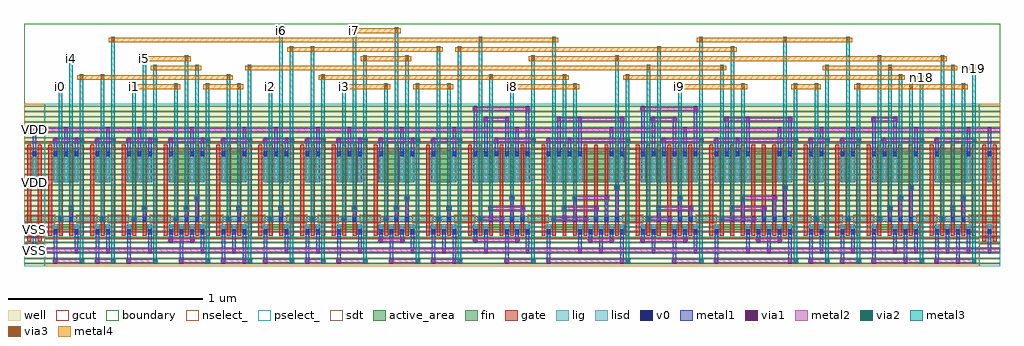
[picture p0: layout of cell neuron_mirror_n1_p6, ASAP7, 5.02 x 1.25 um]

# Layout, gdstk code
import gdstk
lib = gdstk.Library(unit=1e-6, precision=2.5e-10)
def R(c, l, rs):  # rectangles x0, y0, x1, y1
    for r in rs: c.add(gdstk.rectangle(r[:2], r[2:], *l))
def A(c, l, x, y, w, h, nx, ny, dx, dy):  # array of equal rectangles
    R(c, l, [(x+i*dx, y+j*dy, x+i*dx+w, y+j*dy+h) for i in range(nx) for j in range(ny)])
well = (1, 0)
fin = (2, 0)
gate = (7, 0)
gcut = (10, 0)
active_area = (11, 0)
nselect_ = (12, 0)
pselect_ = (13, 0)
lig = (16, 0)
lisd = (17, 0)
v0 = (18, 0)
metal1 = (19, 0)
metal2 = (20, 0)
via1 = (21, 0)
via2 = (25, 0)
metal3 = (30, 0)
via3 = (35, 0)
metal4 = (40, 0)
sdt = (88, 0)
boundary = (100, 0)

neuron_mirror_n1_p6 = lib.new_cell('neuron_mirror_n1_p6')
R(neuron_mirror_n1_p6, well, [(0,0.243,0.108,0.837), (0.108,0.243,0.324,0.837), (0.324,0.243,0.486,0.837), (0.486,0.243,0.702,0.837), (0.702,0.243,0.972,0.837), (0.972,0.243,1.188,0.837), (1.188,0.243,1.404,0.837), (1.404,0.243,1.566,0.837), (1.566,0.243,1.782,0.837), (1.782,0.243,2.052,0.837), (2.052,0.243,2.268,0.837), (2.268,0.243,2.646,0.837), (2.646,0.243,3.132,0.837), (3.132,0.243,3.51,0.837), (3.51,0.243,3.996,0.837), (3.996,0.243,4.158,0.837), (4.158,0.243,4.32,0.837), (4.32,0.243,4.644,0.837), (4.644,0.243,4.914,0.837), (4.914,0.243,5.022,0.837)])
A(neuron_mirror_n1_p6, fin, 0, 0.01, 0.108, 0.007, 1, 31, 0, 0.027)
A(neuron_mirror_n1_p6, fin, 0.108, 0.01, 0.216, 0.007, 1, 31, 0, 0.027)
A(neuron_mirror_n1_p6, fin, 0.324, 0.01, 0.162, 0.007, 1, 31, 0, 0.027)
A(neuron_mirror_n1_p6, fin, 0.486, 0.01, 0.216, 0.007, 1, 31, 0, 0.027)
A(neuron_mirror_n1_p6, fin, 0.702, 0.01, 0.27, 0.007, 1, 31, 0, 0.027)
A(neuron_mirror_n1_p6, fin, 0.972, 0.01, 0.216, 0.007, 1, 31, 0, 0.027)
A(neuron_mirror_n1_p6, fin, 1.188, 0.01, 0.216, 0.007, 1, 31, 0, 0.027)
A(neuron_mirror_n1_p6, fin, 1.404, 0.01, 0.162, 0.007, 1, 31, 0, 0.027)
A(neuron_mirror_n1_p6, fin, 1.566, 0.01, 0.216, 0.007, 1, 31, 0, 0.027)
A(neuron_mirror_n1_p6, fin, 1.782, 0.01, 0.27, 0.007, 1, 31, 0, 0.027)
A(neuron_mirror_n1_p6, fin, 2.052, 0.01, 0.216, 0.007, 1, 31, 0, 0.027)
A(neuron_mirror_n1_p6, fin, 2.268, 0.01, 0.378, 0.007, 1, 31, 0, 0.027)
A(neuron_mirror_n1_p6, fin, 2.646, 0.01, 0.486, 0.007, 1, 31, 0, 0.027)
A(neuron_mirror_n1_p6, fin, 3.132, 0.01, 0.378, 0.007, 1, 31, 0, 0.027)
A(neuron_mirror_n1_p6, fin, 3.51, 0.01, 0.486, 0.007, 1, 31, 0, 0.027)
A(neuron_mirror_n1_p6, fin, 3.996, 0.01, 0.162, 0.007, 1, 31, 0, 0.027)
A(neuron_mirror_n1_p6, fin, 4.158, 0.01, 0.162, 0.007, 1, 31, 0, 0.027)
A(neuron_mirror_n1_p6, fin, 4.32, 0.01, 0.324, 0.007, 1, 31, 0, 0.027)
A(neuron_mirror_n1_p6, fin, 4.644, 0.01, 0.27, 0.007, 1, 31, 0, 0.027)
A(neuron_mirror_n1_p6, fin, 4.914, 0.01, 0.108, 0.007, 1, 31, 0, 0.027)
A(neuron_mirror_n1_p6, gate, 0.125, 0.157, 0.02, 0.469, 89, 1, 0.054, 0)
R(neuron_mirror_n1_p6, gate, [(0.017,0.13,0.037,0.626), (0.071,0.13,0.091,0.626), (4.931,0.13,4.951,0.626), (4.985,0.13,5.005,0.626)])
R(neuron_mirror_n1_p6, gcut, [(0,0.113,0.108,0.157), (4.914,0.113,5.022,0.157), (0.108,0.14,0.324,0.184), (0.324,0.14,0.486,0.184), (0.486,0.14,0.702,0.184), (0.702,0.14,0.972,0.184), (0.972,0.14,1.188,0.184), (1.188,0.14,1.404,0.184), (1.404,0.14,1.566,0.184), (1.566,0.14,1.782,0.184), (1.782,0.14,2.052,0.184), (2.052,0.14,2.268,0.184), (2.268,0.14,2.646,0.184), (2.646,0.14,3.132,0.184), (3.132,0.14,3.51,0.184), (3.51,0.14,3.996,0.184), (3.996,0.14,4.158,0.184), (4.158,0.14,4.32,0.184), (4.32,0.14,4.644,0.184), (4.644,0.14,4.914,0.184), (0,0.221,0.108,0.265), (0.108,0.221,0.162,0.265), (0.27,0.221,0.324,0.265), (0.324,0.221,0.378,0.265), (0.432,0.221,0.486,0.265), (0.486,0.221,0.54,0.265), (0.648,0.221,0.702,0.265), (0.702,0.221,0.756,0.265), (0.918,0.221,0.972,0.265), (0.972,0.221,1.026,0.265), (1.134,0.221,1.188,0.265), (1.188,0.221,1.242,0.265), (1.35,0.221,1.404,0.265), (1.404,0.221,1.458,0.265), (1.512,0.221,1.566,0.265), (1.566,0.221,1.62,0.265), (1.728,0.221,1.782,0.265), (1.782,0.221,1.836,0.265), (1.998,0.221,2.052,0.265), (2.052,0.221,2.106,0.265), (2.214,0.221,2.268,0.265), (2.268,0.221,2.322,0.265), (2.592,0.221,2.646,0.265), (2.646,0.221,2.7,0.265), (3.078,0.221,3.132,0.265), (3.132,0.221,3.186,0.265), (3.456,0.221,3.51,0.265), (3.51,0.221,3.564,0.265), (3.942,0.221,3.996,0.265), (3.996,0.221,4.05,0.265), (4.104,0.221,4.158,0.265), (4.158,0.221,4.212,0.265), (4.266,0.221,4.32,0.265), (4.32,0.221,4.374,0.265), (4.59,0.221,4.644,0.265), (4.644,0.221,4.698,0.265), (4.86,0.221,4.914,0.265), (4.914,0.221,5.022,0.265), (0,0.599,0.108,0.643), (0.108,0.599,0.324,0.643), (0.324,0.599,0.486,0.643), (0.486,0.599,0.702,0.643), (0.702,0.599,0.972,0.643), (0.972,0.599,1.188,0.643), (1.188,0.599,1.404,0.643), (1.404,0.599,1.566,0.643), (1.566,0.599,1.782,0.643), (1.782,0.599,2.052,0.643), (2.052,0.599,2.268,0.643), (2.268,0.599,2.646,0.643), (2.646,0.599,3.132,0.643), (3.132,0.599,3.51,0.643), (3.51,0.599,3.996,0.643), (3.996,0.599,4.158,0.643), (4.158,0.599,4.32,0.643), (4.32,0.599,4.644,0.643), (4.644,0.599,4.914,0.643), (4.914,0.599,5.022,0.643)])
R(neuron_mirror_n1_p6, active_area, [(0.046,0.162,0.062,0.216), (4.96,0.162,4.976,0.216), (0.154,0.189,0.278,0.216), (0.37,0.189,0.44,0.216), (0.532,0.189,0.656,0.216), (0.748,0.189,0.926,0.216), (1.018,0.189,1.142,0.216), (1.234,0.189,1.358,0.216), (1.45,0.189,1.52,0.216), (1.612,0.189,1.736,0.216), (1.828,0.189,2.006,0.216), (2.098,0.189,2.222,0.216), (2.314,0.189,2.6,0.216), (2.692,0.189,3.086,0.216), (3.178,0.189,3.464,0.216), (3.556,0.189,3.95,0.216), (4.042,0.189,4.112,0.216), (4.204,0.189,4.274,0.216), (4.366,0.189,4.598,0.216), (4.69,0.189,4.868,0.216), (0.046,0.432,0.062,0.594), (0.154,0.432,0.278,0.594), (0.37,0.432,0.44,0.594), (0.532,0.432,0.656,0.594), (0.748,0.432,0.926,0.594), (1.018,0.432,1.142,0.594), (1.234,0.432,1.358,0.594), (1.45,0.432,1.52,0.594), (1.612,0.432,1.736,0.594), (1.828,0.432,2.006,0.594), (2.098,0.432,2.222,0.594), (2.314,0.432,2.6,0.594), (2.692,0.432,3.086,0.594), (3.178,0.432,3.464,0.594), (3.556,0.432,3.95,0.594), (4.042,0.432,4.112,0.594), (4.204,0.432,4.274,0.594), (4.366,0.432,4.598,0.594), (4.69,0.432,4.868,0.594), (4.96,0.432,4.976,0.594)])
R(neuron_mirror_n1_p6, nselect_, [(0.108,0,0.324,0.243), (0.324,0,0.486,0.243), (0.486,0,0.702,0.243), (0.702,0,0.972,0.243), (0.972,0,1.188,0.243), (1.188,0,1.404,0.243), (1.404,0,1.566,0.243), (1.566,0,1.782,0.243), (1.782,0,2.052,0.243), (2.052,0,2.268,0.243), (2.268,0,2.646,0.243), (2.646,0,3.132,0.243), (3.132,0,3.51,0.243), (3.51,0,3.996,0.243), (3.996,0,4.158,0.243), (4.158,0,4.32,0.243), (4.32,0,4.644,0.243), (4.644,0,4.914,0.243), (0,0.243,0.108,0.837), (4.914,0.243,5.022,0.837)])
R(neuron_mirror_n1_p6, pselect_, [(0,0,0.108,0.243), (4.914,0,5.022,0.243), (0.108,0.243,0.324,0.837), (0.324,0.243,0.486,0.837), (0.486,0.243,0.702,0.837), (0.702,0.243,0.972,0.837), (0.972,0.243,1.188,0.837), (1.188,0.243,1.404,0.837), (1.404,0.243,1.566,0.837), (1.566,0.243,1.782,0.837), (1.782,0.243,2.052,0.837), (2.052,0.243,2.268,0.837), (2.268,0.243,2.646,0.837), (2.646,0.243,3.132,0.837), (3.132,0.243,3.51,0.837), (3.51,0.243,3.996,0.837), (3.996,0.243,4.158,0.837), (4.158,0.243,4.32,0.837), (4.32,0.243,4.644,0.837), (4.644,0.243,4.914,0.837)])
A(neuron_mirror_n1_p6, lig, 0.232, 0.232, 0.022, 0.022, 3, 1, 0.162, 0)
A(neuron_mirror_n1_p6, lig, 0.772, 0.232, 0.022, 0.022, 3, 1, 0.054, 0)
A(neuron_mirror_n1_p6, lig, 1.312, 0.232, 0.022, 0.022, 3, 1, 0.162, 0)
A(neuron_mirror_n1_p6, lig, 1.852, 0.232, 0.022, 0.022, 3, 1, 0.054, 0)
A(neuron_mirror_n1_p6, lig, 2.338, 0.232, 0.022, 0.022, 5, 1, 0.054, 0)
A(neuron_mirror_n1_p6, lig, 2.716, 0.232, 0.022, 0.022, 7, 1, 0.054, 0)
A(neuron_mirror_n1_p6, lig, 3.202, 0.232, 0.022, 0.022, 5, 1, 0.054, 0)
A(neuron_mirror_n1_p6, lig, 3.58, 0.232, 0.022, 0.022, 7, 1, 0.054, 0)
A(neuron_mirror_n1_p6, lig, 4.066, 0.232, 0.022, 0.022, 3, 1, 0.162, 0)
A(neuron_mirror_n1_p6, lig, 4.444, 0.232, 0.022, 0.022, 3, 1, 0.054, 0)
A(neuron_mirror_n1_p6, lig, 4.714, 0.232, 0.022, 0.022, 3, 1, 0.054, 0)
R(neuron_mirror_n1_p6, lig, [(0.178,0.232,0.2,0.254), (0.61,0.232,0.632,0.254), (1.042,0.232,1.064,0.254), (1.096,0.232,1.118,0.254), (1.258,0.232,1.28,0.254), (1.69,0.232,1.712,0.254), (2.122,0.232,2.144,0.254), (2.176,0.232,2.198,0.254)])
A(neuron_mirror_n1_p6, lisd, 0.042, 0.162, 0.024, 0.054, 4, 1, 0.108, 0)
A(neuron_mirror_n1_p6, lisd, 0.42, 0.162, 0.024, 0.054, 4, 1, 0.108, 0)
A(neuron_mirror_n1_p6, lisd, 0.798, 0.162, 0.024, 0.054, 3, 1, 0.054, 0)
A(neuron_mirror_n1_p6, lisd, 1.014, 0.162, 0.024, 0.054, 3, 1, 0.054, 0)
A(neuron_mirror_n1_p6, lisd, 1.23, 0.162, 0.024, 0.054, 3, 1, 0.108, 0)
A(neuron_mirror_n1_p6, lisd, 1.5, 0.162, 0.024, 0.054, 4, 1, 0.108, 0)
A(neuron_mirror_n1_p6, lisd, 1.878, 0.162, 0.024, 0.054, 3, 1, 0.054, 0)
A(neuron_mirror_n1_p6, lisd, 2.094, 0.162, 0.024, 0.054, 3, 1, 0.054, 0)
A(neuron_mirror_n1_p6, lisd, 2.472, 0.162, 0.024, 0.054, 3, 1, 0.054, 0)
A(neuron_mirror_n1_p6, lisd, 2.85, 0.162, 0.024, 0.054, 5, 1, 0.054, 0)
A(neuron_mirror_n1_p6, lisd, 3.336, 0.162, 0.024, 0.054, 3, 1, 0.054, 0)
A(neuron_mirror_n1_p6, lisd, 3.714, 0.162, 0.024, 0.054, 5, 1, 0.054, 0)
A(neuron_mirror_n1_p6, lisd, 4.254, 0.162, 0.024, 0.054, 3, 1, 0.108, 0)
A(neuron_mirror_n1_p6, lisd, 4.686, 0.162, 0.024, 0.054, 4, 1, 0.054, 0)
A(neuron_mirror_n1_p6, lisd, 0.15, 0.432, 0.024, 0.162, 3, 1, 0.054, 0)
A(neuron_mirror_n1_p6, lisd, 0.528, 0.432, 0.024, 0.162, 3, 1, 0.054, 0)
A(neuron_mirror_n1_p6, lisd, 0.906, 0.432, 0.024, 0.162, 4, 1, 0.108, 0)
A(neuron_mirror_n1_p6, lisd, 1.608, 0.432, 0.024, 0.162, 3, 1, 0.054, 0)
A(neuron_mirror_n1_p6, lisd, 1.986, 0.432, 0.024, 0.162, 4, 1, 0.108, 0)
A(neuron_mirror_n1_p6, lisd, 2.364, 0.432, 0.024, 0.162, 5, 1, 0.054, 0)
A(neuron_mirror_n1_p6, lisd, 2.688, 0.432, 0.024, 0.162, 4, 1, 0.054, 0)
A(neuron_mirror_n1_p6, lisd, 3.174, 0.432, 0.024, 0.162, 6, 1, 0.054, 0)
A(neuron_mirror_n1_p6, lisd, 3.552, 0.432, 0.024, 0.162, 4, 1, 0.054, 0)
A(neuron_mirror_n1_p6, lisd, 4.362, 0.432, 0.024, 0.162, 3, 1, 0.054, 0)
R(neuron_mirror_n1_p6, lisd, [(2.31,0.162,2.334,0.216), (2.364,0.162,2.388,0.216), (2.688,0.162,2.712,0.216), (3.174,0.162,3.198,0.216), (3.228,0.162,3.252,0.216), (3.552,0.162,3.576,0.216), (4.038,0.162,4.062,0.216), (4.092,0.162,4.116,0.216), (4.2,0.162,4.224,0.216), (4.524,0.162,4.548,0.216), (4.578,0.162,4.602,0.216), (4.956,0.162,4.98,0.216), (0.042,0.432,0.066,0.594), (0.366,0.432,0.39,0.594), (0.42,0.432,0.444,0.594), (0.744,0.432,0.768,0.594), (0.852,0.432,0.876,0.594), (1.284,0.432,1.308,0.594), (1.338,0.432,1.362,0.594), (1.446,0.432,1.47,0.594), (1.5,0.432,1.524,0.594), (1.824,0.432,1.848,0.594), (1.932,0.432,1.956,0.594), (3.012,0.432,3.036,0.594), (3.066,0.432,3.09,0.594), (3.876,0.432,3.9,0.594), (3.93,0.432,3.954,0.594), (4.038,0.432,4.062,0.594), (4.092,0.432,4.116,0.594), (4.2,0.432,4.224,0.594), (4.254,0.432,4.278,0.594), (4.578,0.432,4.602,0.594), (4.686,0.432,4.71,0.594), (4.848,0.432,4.872,0.594), (4.956,0.432,4.98,0.594)])
A(neuron_mirror_n1_p6, v0, 0.045, 0.1665, 0.018, 0.018, 4, 1, 0.108, 0)
A(neuron_mirror_n1_p6, v0, 0.423, 0.1665, 0.018, 0.018, 4, 1, 0.108, 0)
A(neuron_mirror_n1_p6, v0, 0.801, 0.1665, 0.018, 0.018, 3, 1, 0.054, 0)
A(neuron_mirror_n1_p6, v0, 1.017, 0.1665, 0.018, 0.018, 3, 1, 0.054, 0)
A(neuron_mirror_n1_p6, v0, 1.233, 0.1665, 0.018, 0.018, 3, 1, 0.108, 0)
A(neuron_mirror_n1_p6, v0, 1.503, 0.1665, 0.018, 0.018, 4, 1, 0.108, 0)
A(neuron_mirror_n1_p6, v0, 1.881, 0.1665, 0.018, 0.018, 3, 1, 0.054, 0)
A(neuron_mirror_n1_p6, v0, 2.097, 0.1665, 0.018, 0.018, 3, 1, 0.054, 0)
A(neuron_mirror_n1_p6, v0, 2.475, 0.1665, 0.018, 0.018, 3, 1, 0.054, 0)
A(neuron_mirror_n1_p6, v0, 2.853, 0.1665, 0.018, 0.018, 5, 1, 0.054, 0)
A(neuron_mirror_n1_p6, v0, 3.339, 0.1665, 0.018, 0.018, 3, 1, 0.054, 0)
A(neuron_mirror_n1_p6, v0, 3.717, 0.1665, 0.018, 0.018, 5, 1, 0.054, 0)
A(neuron_mirror_n1_p6, v0, 4.257, 0.1665, 0.018, 0.018, 3, 1, 0.108, 0)
A(neuron_mirror_n1_p6, v0, 4.689, 0.1665, 0.018, 0.018, 4, 1, 0.054, 0)
A(neuron_mirror_n1_p6, v0, 0.234, 0.234, 0.018, 0.018, 3, 1, 0.162, 0)
A(neuron_mirror_n1_p6, v0, 0.774, 0.234, 0.018, 0.018, 3, 1, 0.054, 0)
A(neuron_mirror_n1_p6, v0, 1.314, 0.234, 0.018, 0.018, 3, 1, 0.162, 0)
A(neuron_mirror_n1_p6, v0, 1.854, 0.234, 0.018, 0.018, 3, 1, 0.054, 0)
A(neuron_mirror_n1_p6, v0, 2.34, 0.234, 0.018, 0.018, 5, 1, 0.054, 0)
A(neuron_mirror_n1_p6, v0, 2.718, 0.234, 0.018, 0.018, 7, 1, 0.054, 0)
A(neuron_mirror_n1_p6, v0, 3.204, 0.234, 0.018, 0.018, 5, 1, 0.054, 0)
A(neuron_mirror_n1_p6, v0, 3.582, 0.234, 0.018, 0.018, 7, 1, 0.054, 0)
A(neuron_mirror_n1_p6, v0, 4.068, 0.234, 0.018, 0.018, 3, 1, 0.162, 0)
A(neuron_mirror_n1_p6, v0, 4.446, 0.234, 0.018, 0.018, 3, 1, 0.054, 0)
A(neuron_mirror_n1_p6, v0, 4.716, 0.234, 0.018, 0.018, 3, 1, 0.054, 0)
A(neuron_mirror_n1_p6, v0, 0.153, 0.5715, 0.018, 0.018, 3, 1, 0.054, 0)
A(neuron_mirror_n1_p6, v0, 0.531, 0.5715, 0.018, 0.018, 3, 1, 0.054, 0)
A(neuron_mirror_n1_p6, v0, 0.909, 0.5715, 0.018, 0.018, 4, 1, 0.108, 0)
A(neuron_mirror_n1_p6, v0, 1.611, 0.5715, 0.018, 0.018, 3, 1, 0.054, 0)
A(neuron_mirror_n1_p6, v0, 1.989, 0.5715, 0.018, 0.018, 4, 1, 0.108, 0)
A(neuron_mirror_n1_p6, v0, 2.367, 0.5715, 0.018, 0.018, 5, 1, 0.054, 0)
A(neuron_mirror_n1_p6, v0, 2.691, 0.5715, 0.018, 0.018, 4, 1, 0.054, 0)
A(neuron_mirror_n1_p6, v0, 3.177, 0.5715, 0.018, 0.018, 6, 1, 0.054, 0)
A(neuron_mirror_n1_p6, v0, 3.555, 0.5715, 0.018, 0.018, 4, 1, 0.054, 0)
A(neuron_mirror_n1_p6, v0, 4.365, 0.5715, 0.018, 0.018, 3, 1, 0.054, 0)
R(neuron_mirror_n1_p6, v0, [(2.313,0.1665,2.331,0.1845), (2.367,0.1665,2.385,0.1845), (2.691,0.1665,2.709,0.1845), (3.177,0.1665,3.195,0.1845), (3.231,0.1665,3.249,0.1845), (3.555,0.1665,3.573,0.1845), (4.041,0.1665,4.059,0.1845), (4.095,0.1665,4.113,0.1845), (4.203,0.1665,4.221,0.1845), (4.527,0.1665,4.545,0.1845), (4.581,0.1665,4.599,0.1845), (4.959,0.1665,4.977,0.1845), (0.18,0.234,0.198,0.252), (0.612,0.234,0.63,0.252), (1.044,0.234,1.062,0.252), (1.098,0.234,1.116,0.252), (1.26,0.234,1.278,0.252), (1.692,0.234,1.71,0.252), (2.124,0.234,2.142,0.252), (2.178,0.234,2.196,0.252), (0.045,0.5715,0.063,0.5895), (0.369,0.5715,0.387,0.5895), (0.423,0.5715,0.441,0.5895), (0.747,0.5715,0.765,0.5895), (0.855,0.5715,0.873,0.5895), (1.287,0.5715,1.305,0.5895), (1.341,0.5715,1.359,0.5895), (1.449,0.5715,1.467,0.5895), (1.503,0.5715,1.521,0.5895), (1.827,0.5715,1.845,0.5895), (1.935,0.5715,1.953,0.5895), (3.015,0.5715,3.033,0.5895), (3.069,0.5715,3.087,0.5895), (3.879,0.5715,3.897,0.5895), (3.933,0.5715,3.951,0.5895), (4.041,0.5715,4.059,0.5895), (4.095,0.5715,4.113,0.5895), (4.203,0.5715,4.221,0.5895), (4.257,0.5715,4.275,0.5895), (4.581,0.5715,4.599,0.5895), (4.689,0.5715,4.707,0.5895), (4.851,0.5715,4.869,0.5895), (4.959,0.5715,4.977,0.5895)])
A(neuron_mirror_n1_p6, metal1, 1.017, 0.013, 0.018, 0.1765, 3, 1, 0.108, 0)
A(neuron_mirror_n1_p6, metal1, 4.041, 0.013, 0.018, 0.1765, 5, 1, 0.162, 0)
A(neuron_mirror_n1_p6, metal1, 2.151, 0.067, 0.018, 0.1225, 3, 1, 0.216, 0)
A(neuron_mirror_n1_p6, metal1, 4.743, 0.067, 0.018, 0.1225, 3, 1, 0.108, 0)
A(neuron_mirror_n1_p6, metal1, 1.044, 0.229, 0.018, 0.028, 3, 1, 0.216, 0)
A(neuron_mirror_n1_p6, metal1, 4.068, 0.229, 0.018, 0.028, 3, 1, 0.162, 0)
A(neuron_mirror_n1_p6, metal1, 0.153, 0.5665, 0.018, 0.0955, 3, 1, 0.108, 0)
A(neuron_mirror_n1_p6, metal1, 0.531, 0.5665, 0.018, 0.0955, 3, 1, 0.108, 0)
A(neuron_mirror_n1_p6, metal1, 0.585, 0.5665, 0.018, 0.1495, 3, 1, 0.27, 0)
A(neuron_mirror_n1_p6, metal1, 1.233, 0.5665, 0.018, 0.0955, 3, 1, 0.108, 0)
A(neuron_mirror_n1_p6, metal1, 1.611, 0.5665, 0.018, 0.0955, 3, 1, 0.108, 0)
A(neuron_mirror_n1_p6, metal1, 1.665, 0.5665, 0.018, 0.1495, 3, 1, 0.27, 0)
R(neuron_mirror_n1_p6, metal1, [(0.153,0.013,0.171,0.1895), (0.369,0.013,0.387,0.1895), (0.531,0.013,0.549,0.1895), (0.801,0.013,0.819,0.1895), (1.449,0.013,1.467,0.1895), (1.611,0.013,1.629,0.1895), (1.881,0.013,1.899,0.1895), (2.097,0.013,2.115,0.1895), (2.205,0.013,2.223,0.1895), (2.475,0.013,2.493,0.1895), (2.691,0.013,2.709,0.1895), (3.069,0.013,3.087,0.1895), (3.339,0.013,3.357,0.1895), (3.555,0.013,3.573,0.1895), (3.933,0.013,3.951,0.1895), (4.797,0.013,4.815,0.1895), (0.045,0.067,0.063,0.1895), (0.261,0.067,0.279,0.1895), (0.423,0.067,0.441,0.1895), (0.639,0.067,0.657,0.1895), (0.909,0.067,0.927,0.1895), (1.071,0.067,1.089,0.1895), (1.341,0.067,1.359,0.1895), (1.503,0.067,1.521,0.1895), (1.719,0.067,1.737,0.1895), (1.989,0.067,2.007,0.1895), (2.853,0.067,2.871,0.1895), (2.961,0.067,2.979,0.1895), (3.231,0.067,3.249,0.1895), (3.447,0.067,3.465,0.1895), (3.717,0.067,3.735,0.1895), (3.825,0.067,3.843,0.1895), (4.095,0.067,4.113,0.1895), (4.257,0.067,4.275,0.1895), (4.473,0.067,4.491,0.1895), (4.581,0.067,4.599,0.1895), (0.747,0.121,0.765,0.1895), (0.855,0.121,0.873,0.1895), (1.827,0.121,1.845,0.1895), (1.935,0.121,1.953,0.1895), (2.313,0.121,2.331,0.1895), (2.529,0.121,2.547,0.1895), (2.907,0.121,2.925,0.1895), (3.015,0.121,3.033,0.1895), (3.177,0.121,3.195,0.1895), (3.393,0.121,3.411,0.1895), (3.771,0.121,3.789,0.1895), (3.879,0.121,3.897,0.1895), (0.18,0.229,0.198,0.257), (0.234,0.229,0.252,0.311), (0.396,0.229,0.414,0.257), (0.558,0.229,0.576,0.257), (0.612,0.229,0.63,0.311), (0.774,0.229,0.792,0.257), (0.828,0.229,0.846,0.311), (0.882,0.229,0.9,0.365), (1.098,0.229,1.116,0.311), (1.314,0.229,1.332,0.311), (1.638,0.229,1.656,0.257), (1.692,0.229,1.71,0.311), (1.854,0.229,1.872,0.257), (1.908,0.229,1.926,0.311), (1.962,0.229,1.98,0.365), (2.124,0.229,2.142,0.257), (2.178,0.229,2.196,0.311), (2.34,0.229,2.358,0.257), (2.394,0.229,2.412,0.311), (2.448,0.229,2.466,0.257), (2.502,0.229,2.52,0.365), (2.556,0.229,2.574,0.311), (2.718,0.229,2.736,0.257), (2.772,0.229,2.79,0.311), (2.826,0.229,2.844,0.365), (2.88,0.229,2.898,0.257), (2.934,0.229,2.952,0.311), (2.988,0.229,3.006,0.365), (3.042,0.229,3.06,0.419), (3.204,0.229,3.222,0.257), (3.258,0.229,3.276,0.311), (3.312,0.229,3.33,0.257), (3.366,0.229,3.384,0.365), (3.42,0.229,3.438,0.311), (3.582,0.229,3.6,0.257), (3.636,0.229,3.654,0.311), (3.69,0.229,3.708,0.365), (3.744,0.229,3.762,0.257), (3.798,0.229,3.816,0.311), (3.852,0.229,3.87,0.365), (3.906,0.229,3.924,0.419), (4.446,0.229,4.464,0.311), (4.5,0.229,4.518,0.365), (4.554,0.229,4.572,0.419), (4.716,0.229,4.734,0.257), (4.77,0.229,4.788,0.311), (4.824,0.229,4.842,0.365), (0.045,0.5665,0.063,0.716), (0.207,0.5665,0.225,0.716), (0.423,0.5665,0.441,0.716), (0.909,0.5665,0.927,0.662), (1.017,0.5665,1.035,0.662), (1.287,0.5665,1.305,0.716), (1.503,0.5665,1.521,0.716), (1.989,0.5665,2.007,0.662), (2.097,0.5665,2.115,0.662), (2.313,0.5665,2.331,0.824), (2.367,0.5665,2.385,0.77), (2.421,0.5665,2.439,0.662), (2.475,0.5665,2.493,0.77), (2.529,0.5665,2.547,0.716), (2.583,0.5665,2.601,0.824), (2.691,0.5665,2.709,0.662), (2.745,0.5665,2.763,0.77), (2.799,0.5665,2.817,0.662), (2.853,0.5665,2.871,0.77), (3.015,0.5665,3.033,0.716), (3.069,0.5665,3.087,0.77), (3.177,0.5665,3.195,0.824), (3.231,0.5665,3.249,0.77), (3.285,0.5665,3.303,0.662), (3.339,0.5665,3.357,0.77), (3.393,0.5665,3.411,0.716), (3.447,0.5665,3.465,0.824), (3.555,0.5665,3.573,0.662), (3.609,0.5665,3.627,0.77), (3.663,0.5665,3.681,0.662), (3.717,0.5665,3.735,0.77), (3.879,0.5665,3.897,0.716), (3.933,0.5665,3.951,0.77), (4.041,0.5665,4.059,0.662), (4.095,0.5665,4.113,0.716), (4.203,0.5665,4.221,0.662), (4.257,0.5665,4.275,0.716), (4.365,0.5665,4.383,0.77), (4.419,0.5665,4.437,0.662), (4.473,0.5665,4.491,0.77), (4.581,0.5665,4.599,0.716), (4.689,0.5665,4.707,0.662), (4.851,0.5665,4.869,0.716), (4.959,0.5665,4.977,0.716)])
A(neuron_mirror_n1_p6, metal2, 0.796, 0.018, 0.163, 0.018, 3, 1, 0.216, 0)
A(neuron_mirror_n1_p6, metal2, 0.742, 0.126, 0.136, 0.018, 3, 1, 1.08, 0)
A(neuron_mirror_n1_p6, metal2, 1.039, 0.234, 0.028, 0.018, 3, 1, 0.216, 0)
A(neuron_mirror_n1_p6, metal2, 4.063, 0.234, 0.028, 0.018, 3, 1, 0.162, 0)
A(neuron_mirror_n1_p6, metal2, 0.58, 0.693, 0.028, 0.018, 3, 1, 0.27, 0)
A(neuron_mirror_n1_p6, metal2, 1.66, 0.693, 0.028, 0.018, 3, 1, 0.27, 0)
R(neuron_mirror_n1_p6, metal2, [(0.148,0.018,0.311,0.036), (0.364,0.018,0.473,0.036), (0.526,0.018,0.689,0.036), (1.444,0.018,1.553,0.036), (1.606,0.018,1.769,0.036), (1.876,0.018,2.039,0.036), (2.092,0.018,2.255,0.036), (2.47,0.018,2.633,0.036), (2.686,0.018,3.119,0.036), (3.334,0.018,3.497,0.036), (3.55,0.018,3.983,0.036), (4.036,0.018,4.145,0.036), (4.198,0.018,4.307,0.036), (4.36,0.018,4.631,0.036), (4.684,0.018,4.901,0.036), (0,0.072,5.022,0.09), (0.04,0.072,0.068,0.09), (0.256,0.072,0.284,0.09), (0.418,0.072,0.446,0.09), (0.634,0.072,0.662,0.09), (0.904,0.072,0.932,0.09), (1.066,0.072,1.094,0.09), (1.336,0.072,1.364,0.09), (1.498,0.072,1.526,0.09), (1.714,0.072,1.742,0.09), (1.984,0.072,2.012,0.09), (2.146,0.072,2.174,0.09), (2.362,0.072,2.606,0.09), (2.848,0.072,2.984,0.09), (3.226,0.072,3.47,0.09), (3.712,0.072,3.848,0.09), (4.09,0.072,4.118,0.09), (4.252,0.072,4.28,0.09), (4.468,0.072,4.604,0.09), (4.738,0.072,4.874,0.09), (4.954,0.072,4.982,0.09), (2.308,0.126,2.552,0.144), (3.172,0.126,3.416,0.144), (3.766,0.126,3.902,0.144), (0.175,0.234,0.203,0.252), (0.391,0.234,0.419,0.252), (0.553,0.234,0.581,0.252), (0.769,0.234,0.797,0.252), (1.633,0.234,1.661,0.252), (1.849,0.234,1.877,0.252), (2.119,0.234,2.147,0.252), (2.335,0.234,2.471,0.252), (2.713,0.234,2.903,0.252), (3.199,0.234,3.335,0.252), (3.577,0.234,3.767,0.252), (4.711,0.234,4.739,0.252), (0.229,0.288,0.257,0.306), (0.607,0.288,0.635,0.306), (0.823,0.288,0.851,0.306), (1.093,0.288,1.121,0.306), (1.309,0.288,1.337,0.306), (1.687,0.288,1.715,0.306), (1.903,0.288,1.931,0.306), (2.173,0.288,2.201,0.306), (2.389,0.288,2.579,0.306), (2.767,0.288,2.957,0.306), (3.253,0.288,3.443,0.306), (3.631,0.288,3.821,0.306), (4.441,0.288,4.469,0.306), (4.765,0.288,4.793,0.306), (0.877,0.342,0.905,0.36), (1.957,0.342,1.985,0.36), (2.497,0.342,2.525,0.36), (2.821,0.342,3.011,0.36), (3.361,0.342,3.389,0.36), (3.685,0.342,3.875,0.36), (4.495,0.342,4.523,0.36), (4.819,0.342,4.847,0.36), (3.037,0.396,3.065,0.414), (3.901,0.396,3.929,0.414), (4.549,0.396,4.577,0.414), (0.148,0.639,0.311,0.657), (0.364,0.639,0.473,0.657), (0.526,0.639,0.689,0.657), (0.742,0.639,0.959,0.657), (1.012,0.639,1.175,0.657), (1.228,0.639,1.391,0.657), (1.444,0.639,1.553,0.657), (1.606,0.639,1.769,0.657), (1.822,0.639,2.039,0.657), (2.092,0.639,2.255,0.657), (2.416,0.639,2.633,0.657), (2.686,0.639,3.119,0.657), (3.28,0.639,3.497,0.657), (3.55,0.639,3.983,0.657), (4.036,0.639,4.145,0.657), (4.198,0.639,4.307,0.657), (4.414,0.639,4.631,0.657), (4.684,0.639,4.901,0.657), (0,0.693,5.022,0.711), (0.04,0.693,0.068,0.711), (0.202,0.693,0.23,0.711), (0.418,0.693,0.446,0.711), (1.282,0.693,1.31,0.711), (1.498,0.693,1.526,0.711), (2.524,0.693,2.552,0.711), (3.01,0.693,3.038,0.711), (3.388,0.693,3.416,0.711), (3.874,0.693,3.902,0.711), (4.09,0.693,4.118,0.711), (4.252,0.693,4.28,0.711), (4.576,0.693,4.604,0.711), (4.846,0.693,4.874,0.711), (4.954,0.693,4.982,0.711), (2.362,0.747,2.498,0.765), (2.74,0.747,3.092,0.765), (3.226,0.747,3.362,0.765), (3.604,0.747,3.956,0.765), (4.36,0.747,4.496,0.765), (2.308,0.801,2.606,0.819), (3.172,0.801,3.47,0.819)])
A(neuron_mirror_n1_p6, via1, 1.017, 0.018, 0.018, 0.018, 3, 1, 0.108, 0)
A(neuron_mirror_n1_p6, via1, 4.041, 0.018, 0.018, 0.018, 5, 1, 0.162, 0)
A(neuron_mirror_n1_p6, via1, 2.151, 0.072, 0.018, 0.018, 3, 1, 0.216, 0)
A(neuron_mirror_n1_p6, via1, 4.743, 0.072, 0.018, 0.018, 3, 1, 0.108, 0)
A(neuron_mirror_n1_p6, via1, 1.044, 0.234, 0.018, 0.018, 3, 1, 0.216, 0)
A(neuron_mirror_n1_p6, via1, 4.068, 0.234, 0.018, 0.018, 3, 1, 0.162, 0)
A(neuron_mirror_n1_p6, via1, 0.153, 0.639, 0.018, 0.018, 3, 1, 0.108, 0)
A(neuron_mirror_n1_p6, via1, 0.531, 0.639, 0.018, 0.018, 3, 1, 0.108, 0)
A(neuron_mirror_n1_p6, via1, 1.233, 0.639, 0.018, 0.018, 3, 1, 0.108, 0)
A(neuron_mirror_n1_p6, via1, 1.611, 0.639, 0.018, 0.018, 3, 1, 0.108, 0)
A(neuron_mirror_n1_p6, via1, 0.585, 0.693, 0.018, 0.018, 3, 1, 0.27, 0)
A(neuron_mirror_n1_p6, via1, 1.665, 0.693, 0.018, 0.018, 3, 1, 0.27, 0)
R(neuron_mirror_n1_p6, via1, [(0.153,0.018,0.171,0.036), (0.369,0.018,0.387,0.036), (0.531,0.018,0.549,0.036), (0.801,0.018,0.819,0.036), (1.449,0.018,1.467,0.036), (1.611,0.018,1.629,0.036), (1.881,0.018,1.899,0.036), (2.097,0.018,2.115,0.036), (2.205,0.018,2.223,0.036), (2.475,0.018,2.493,0.036), (2.691,0.018,2.709,0.036), (3.069,0.018,3.087,0.036), (3.339,0.018,3.357,0.036), (3.555,0.018,3.573,0.036), (3.933,0.018,3.951,0.036), (4.797,0.018,4.815,0.036), (0.045,0.072,0.063,0.09), (0.261,0.072,0.279,0.09), (0.423,0.072,0.441,0.09), (0.639,0.072,0.657,0.09), (0.909,0.072,0.927,0.09), (1.071,0.072,1.089,0.09), (1.341,0.072,1.359,0.09), (1.503,0.072,1.521,0.09), (1.719,0.072,1.737,0.09), (1.989,0.072,2.007,0.09), (2.853,0.072,2.871,0.09), (2.961,0.072,2.979,0.09), (3.231,0.072,3.249,0.09), (3.447,0.072,3.465,0.09), (3.717,0.072,3.735,0.09), (3.825,0.072,3.843,0.09), (4.095,0.072,4.113,0.09), (4.257,0.072,4.275,0.09), (4.473,0.072,4.491,0.09), (4.581,0.072,4.599,0.09), (0.747,0.126,0.765,0.144), (0.855,0.126,0.873,0.144), (1.827,0.126,1.845,0.144), (1.935,0.126,1.953,0.144), (2.313,0.126,2.331,0.144), (2.529,0.126,2.547,0.144), (2.907,0.126,2.925,0.144), (3.015,0.126,3.033,0.144), (3.177,0.126,3.195,0.144), (3.393,0.126,3.411,0.144), (3.771,0.126,3.789,0.144), (3.879,0.126,3.897,0.144), (0.18,0.234,0.198,0.252), (0.396,0.234,0.414,0.252), (0.558,0.234,0.576,0.252), (0.774,0.234,0.792,0.252), (1.638,0.234,1.656,0.252), (1.854,0.234,1.872,0.252), (2.124,0.234,2.142,0.252), (2.34,0.234,2.358,0.252), (2.448,0.234,2.466,0.252), (2.718,0.234,2.736,0.252), (2.88,0.234,2.898,0.252), (3.204,0.234,3.222,0.252), (3.312,0.234,3.33,0.252), (3.582,0.234,3.6,0.252), (3.744,0.234,3.762,0.252), (4.716,0.234,4.734,0.252), (0.234,0.288,0.252,0.306), (0.612,0.288,0.63,0.306), (0.828,0.288,0.846,0.306), (1.098,0.288,1.116,0.306), (1.314,0.288,1.332,0.306), (1.692,0.288,1.71,0.306), (1.908,0.288,1.926,0.306), (2.178,0.288,2.196,0.306), (2.394,0.288,2.412,0.306), (2.556,0.288,2.574,0.306), (2.772,0.288,2.79,0.306), (2.934,0.288,2.952,0.306), (3.258,0.288,3.276,0.306), (3.42,0.288,3.438,0.306), (3.636,0.288,3.654,0.306), (3.798,0.288,3.816,0.306), (4.446,0.288,4.464,0.306), (4.77,0.288,4.788,0.306), (0.882,0.342,0.9,0.36), (1.962,0.342,1.98,0.36), (2.502,0.342,2.52,0.36), (2.826,0.342,2.844,0.36), (2.988,0.342,3.006,0.36), (3.366,0.342,3.384,0.36), (3.69,0.342,3.708,0.36), (3.852,0.342,3.87,0.36), (4.5,0.342,4.518,0.36), (4.824,0.342,4.842,0.36), (3.042,0.396,3.06,0.414), (3.906,0.396,3.924,0.414), (4.554,0.396,4.572,0.414), (0.909,0.639,0.927,0.657), (1.017,0.639,1.035,0.657), (1.989,0.639,2.007,0.657), (2.097,0.639,2.115,0.657), (2.421,0.639,2.439,0.657), (2.691,0.639,2.709,0.657), (2.799,0.639,2.817,0.657), (3.285,0.639,3.303,0.657), (3.555,0.639,3.573,0.657), (3.663,0.639,3.681,0.657), (4.041,0.639,4.059,0.657), (4.203,0.639,4.221,0.657), (4.419,0.639,4.437,0.657), (4.689,0.639,4.707,0.657), (0.045,0.693,0.063,0.711), (0.207,0.693,0.225,0.711), (0.423,0.693,0.441,0.711), (1.287,0.693,1.305,0.711), (1.503,0.693,1.521,0.711), (2.529,0.693,2.547,0.711), (3.015,0.693,3.033,0.711), (3.393,0.693,3.411,0.711), (3.879,0.693,3.897,0.711), (4.095,0.693,4.113,0.711), (4.257,0.693,4.275,0.711), (4.581,0.693,4.599,0.711), (4.851,0.693,4.869,0.711), (4.959,0.693,4.977,0.711), (2.367,0.747,2.385,0.765), (2.475,0.747,2.493,0.765), (2.745,0.747,2.763,0.765), (2.853,0.747,2.871,0.765), (3.069,0.747,3.087,0.765), (3.231,0.747,3.249,0.765), (3.339,0.747,3.357,0.765), (3.609,0.747,3.627,0.765), (3.717,0.747,3.735,0.765), (3.933,0.747,3.951,0.765), (4.365,0.747,4.383,0.765), (4.473,0.747,4.491,0.765), (2.313,0.801,2.331,0.819), (2.583,0.801,2.601,0.819), (3.177,0.801,3.195,0.819), (3.447,0.801,3.465,0.819)])
A(neuron_mirror_n1_p6, via2, 0.936, 0.018, 0.018, 0.018, 3, 2, 0.216, 0.621)
A(neuron_mirror_n1_p6, via2, 3.96, 0.018, 0.018, 0.018, 3, 2, 0.162, 0.621)
A(neuron_mirror_n1_p6, via2, 1.044, 0.234, 0.018, 0.018, 3, 1, 0.216, 0)
A(neuron_mirror_n1_p6, via2, 4.068, 0.234, 0.018, 0.018, 3, 1, 0.162, 0)
R(neuron_mirror_n1_p6, via2, [(0.288,0.018,0.306,0.036), (0.45,0.018,0.468,0.036), (0.666,0.018,0.684,0.036), (1.53,0.018,1.548,0.036), (1.746,0.018,1.764,0.036), (2.016,0.018,2.034,0.036), (2.232,0.018,2.25,0.036), (2.61,0.018,2.628,0.036), (3.096,0.018,3.114,0.036), (3.474,0.018,3.492,0.036), (4.608,0.018,4.626,0.036), (4.878,0.018,4.896,0.036), (0.18,0.234,0.198,0.252), (0.396,0.234,0.414,0.252), (0.558,0.234,0.576,0.252), (0.774,0.234,0.792,0.252), (1.638,0.234,1.656,0.252), (1.854,0.234,1.872,0.252), (2.124,0.234,2.142,0.252), (2.34,0.234,2.358,0.252), (2.718,0.234,2.736,0.252), (3.204,0.234,3.222,0.252), (3.582,0.234,3.6,0.252), (4.716,0.234,4.734,0.252), (0.234,0.288,0.252,0.306), (0.612,0.288,0.63,0.306), (0.828,0.288,0.846,0.306), (1.098,0.288,1.116,0.306), (1.314,0.288,1.332,0.306), (1.692,0.288,1.71,0.306), (1.908,0.288,1.926,0.306), (2.178,0.288,2.196,0.306), (2.394,0.288,2.412,0.306), (2.772,0.288,2.79,0.306), (3.258,0.288,3.276,0.306), (3.636,0.288,3.654,0.306), (4.446,0.288,4.464,0.306), (4.77,0.288,4.788,0.306), (0.882,0.342,0.9,0.36), (1.962,0.342,1.98,0.36), (2.502,0.342,2.52,0.36), (2.826,0.342,2.844,0.36), (3.366,0.342,3.384,0.36), (3.69,0.342,3.708,0.36), (4.5,0.342,4.518,0.36), (4.824,0.342,4.842,0.36), (3.042,0.396,3.06,0.414), (3.906,0.396,3.924,0.414), (4.554,0.396,4.572,0.414), (0.288,0.639,0.306,0.657), (0.45,0.639,0.468,0.657), (0.666,0.639,0.684,0.657), (1.53,0.639,1.548,0.657), (1.746,0.639,1.764,0.657), (2.016,0.639,2.034,0.657), (2.232,0.639,2.25,0.657), (2.61,0.639,2.628,0.657), (3.096,0.639,3.114,0.657), (3.474,0.639,3.492,0.657), (4.608,0.639,4.626,0.657), (4.878,0.639,4.896,0.657)])
A(neuron_mirror_n1_p6, metal3, 0.936, 0.013, 0.018, 0.649, 3, 1, 0.216, 0)
A(neuron_mirror_n1_p6, metal3, 3.96, 0.013, 0.018, 0.649, 3, 1, 0.162, 0)
A(neuron_mirror_n1_p6, metal3, 2.718, 0.229, 0.018, 0.952, 3, 1, 0.756, 0)
R(neuron_mirror_n1_p6, metal3, [(0.288,0.013,0.306,0.662), (0.45,0.013,0.468,0.662), (0.666,0.013,0.684,0.662), (1.53,0.013,1.548,0.662), (1.746,0.013,1.764,0.662), (2.016,0.013,2.034,0.662), (2.232,0.013,2.25,0.662), (2.61,0.013,2.628,0.662), (3.096,0.013,3.114,0.662), (3.474,0.013,3.492,0.662), (4.608,0.013,4.626,0.662), (4.878,0.013,4.896,0.662), (0.18,0.229,0.198,0.941), (0.288,0.229,0.306,0.989), (0.396,0.229,0.414,0.989), (0.45,0.229,0.468,1.181), (0.558,0.229,0.576,0.941), (0.666,0.229,0.684,1.037), (0.774,0.229,0.792,0.941), (0.936,0.229,0.954,0.941), (1.044,0.229,1.062,0.989), (1.152,0.229,1.17,1.037), (1.26,0.229,1.278,0.941), (1.368,0.229,1.386,1.133), (1.476,0.229,1.494,1.133), (1.53,0.229,1.548,0.989), (1.638,0.229,1.656,0.941), (1.746,0.229,1.764,1.085), (1.854,0.229,1.872,0.941), (2.016,0.229,2.034,0.941), (2.124,0.229,2.142,1.133), (2.232,0.229,2.25,1.133), (2.34,0.229,2.358,1.181), (2.61,0.229,2.628,1.085), (3.096,0.229,3.114,0.989), (3.204,0.229,3.222,1.037), (3.582,0.229,3.6,1.037), (3.96,0.229,3.978,0.941), (4.068,0.229,4.086,0.941), (4.122,0.229,4.14,1.037), (4.284,0.229,4.302,0.941), (4.392,0.229,4.41,1.085), (4.608,0.229,4.626,0.989), (4.716,0.229,4.734,1.085), (4.878,0.229,4.896,1.037), (0.234,0.283,0.252,1.085), (0.612,0.283,0.63,1.085), (0.828,0.283,0.846,1.085), (1.098,0.283,1.116,0.941), (1.314,0.283,1.332,1.229), (1.692,0.283,1.71,1.229), (1.908,0.283,1.926,1.229), (2.178,0.283,2.196,0.941), (2.394,0.283,2.412,0.989), (2.772,0.283,2.79,0.989), (3.258,0.283,3.276,1.133), (3.636,0.283,3.654,1.133), (4.446,0.283,4.464,1.037), (4.77,0.283,4.788,1.037), (0.882,0.337,0.9,1.037), (1.962,0.337,1.98,1.085), (2.502,0.337,2.52,0.941), (2.826,0.337,2.844,0.941), (3.366,0.337,3.384,0.941), (3.69,0.337,3.708,0.941), (4.5,0.337,4.518,0.989), (4.824,0.337,4.842,0.941), (3.042,0.391,3.06,1.085), (3.906,0.391,3.924,1.181), (4.554,0.391,4.572,0.941)])
A(neuron_mirror_n1_p6, via3, 0.774, 0.912, 0.018, 0.024, 4, 1, 0.162, 0)
A(neuron_mirror_n1_p6, via3, 1.854, 0.912, 0.018, 0.024, 3, 1, 0.162, 0)
A(neuron_mirror_n1_p6, via3, 4.284, 0.912, 0.018, 0.024, 3, 1, 0.27, 0)
A(neuron_mirror_n1_p6, via3, 4.122, 1.008, 0.018, 0.024, 3, 1, 0.324, 0)
R(neuron_mirror_n1_p6, via3, [(0.18,0.912,0.198,0.936), (0.558,0.912,0.576,0.936), (1.638,0.912,1.656,0.936), (2.502,0.912,2.52,0.936), (2.826,0.912,2.844,0.936), (3.366,0.912,3.384,0.936), (3.69,0.912,3.708,0.936), (3.96,0.912,3.978,0.936), (4.068,0.912,4.086,0.936), (0.288,0.96,0.306,0.984), (0.396,0.96,0.414,0.984), (1.044,0.96,1.062,0.984), (1.53,0.96,1.548,0.984), (2.394,0.96,2.412,0.984), (2.772,0.96,2.79,0.984), (3.096,0.96,3.114,0.984), (4.5,0.96,4.518,0.984), (4.608,0.96,4.626,0.984), (0.666,1.008,0.684,1.032), (0.882,1.008,0.9,1.032), (1.152,1.008,1.17,1.032), (3.204,1.008,3.222,1.032), (3.582,1.008,3.6,1.032), (4.878,1.008,4.896,1.032), (0.234,1.056,0.252,1.08), (0.612,1.056,0.63,1.08), (0.828,1.056,0.846,1.08), (1.746,1.056,1.764,1.08), (1.962,1.056,1.98,1.08), (2.61,1.056,2.628,1.08), (3.042,1.056,3.06,1.08), (4.392,1.056,4.41,1.08), (4.716,1.056,4.734,1.08), (1.368,1.104,1.386,1.128), (1.476,1.104,1.494,1.128), (2.124,1.104,2.142,1.128), (2.232,1.104,2.25,1.128), (3.258,1.104,3.276,1.128), (3.636,1.104,3.654,1.128), (0.45,1.152,0.468,1.176), (2.34,1.152,2.358,1.176), (2.718,1.152,2.736,1.176), (3.474,1.152,3.492,1.176), (3.906,1.152,3.924,1.176), (4.23,1.152,4.248,1.176), (1.314,1.2,1.332,1.224), (1.692,1.2,1.71,1.224), (1.908,1.2,1.926,1.224)])
R(neuron_mirror_n1_p6, metal4, [(0.167,0.912,0.211,0.936), (0.545,0.912,0.805,0.936), (0.923,0.912,1.129,0.936), (1.247,0.912,1.291,0.936), (1.625,0.912,1.885,0.936), (2.003,0.912,2.209,0.936), (2.489,0.912,2.857,0.936), (3.353,0.912,3.721,0.936), (3.947,0.912,4.099,0.936), (4.271,0.912,4.855,0.936), (0.275,0.96,1.075,0.984), (1.517,0.96,2.803,0.984), (3.083,0.96,4.531,0.984), (4.595,0.96,4.639,0.984), (0.653,1.008,0.913,1.032), (1.139,1.008,3.613,1.032), (4.109,1.008,4.801,1.032), (4.865,1.008,4.909,1.032), (0.221,1.056,0.265,1.08), (0.599,1.056,0.859,1.08), (1.733,1.056,1.993,1.08), (2.597,1.056,4.747,1.08), (1.355,1.104,2.155,1.128), (2.219,1.104,3.667,1.128), (0.437,1.152,2.749,1.176), (3.461,1.152,4.261,1.176), (1.301,1.2,1.345,1.224), (1.679,1.2,1.939,1.224)])
A(neuron_mirror_n1_p6, sdt, 0.15, 0.189, 0.024, 0.027, 3, 1, 0.108, 0)
A(neuron_mirror_n1_p6, sdt, 0.42, 0.189, 0.024, 0.027, 4, 1, 0.108, 0)
A(neuron_mirror_n1_p6, sdt, 0.798, 0.189, 0.024, 0.027, 3, 1, 0.054, 0)
A(neuron_mirror_n1_p6, sdt, 1.014, 0.189, 0.024, 0.027, 3, 1, 0.054, 0)
A(neuron_mirror_n1_p6, sdt, 1.23, 0.189, 0.024, 0.027, 3, 1, 0.108, 0)
A(neuron_mirror_n1_p6, sdt, 1.5, 0.189, 0.024, 0.027, 4, 1, 0.108, 0)
A(neuron_mirror_n1_p6, sdt, 1.878, 0.189, 0.024, 0.027, 3, 1, 0.054, 0)
A(neuron_mirror_n1_p6, sdt, 2.094, 0.189, 0.024, 0.027, 3, 1, 0.054, 0)
A(neuron_mirror_n1_p6, sdt, 2.472, 0.189, 0.024, 0.027, 3, 1, 0.054, 0)
A(neuron_mirror_n1_p6, sdt, 2.85, 0.189, 0.024, 0.027, 5, 1, 0.054, 0)
A(neuron_mirror_n1_p6, sdt, 3.336, 0.189, 0.024, 0.027, 3, 1, 0.054, 0)
A(neuron_mirror_n1_p6, sdt, 3.714, 0.189, 0.024, 0.027, 5, 1, 0.054, 0)
A(neuron_mirror_n1_p6, sdt, 4.254, 0.189, 0.024, 0.027, 3, 1, 0.108, 0)
A(neuron_mirror_n1_p6, sdt, 4.686, 0.189, 0.024, 0.027, 4, 1, 0.054, 0)
A(neuron_mirror_n1_p6, sdt, 0.15, 0.432, 0.024, 0.162, 3, 1, 0.054, 0)
A(neuron_mirror_n1_p6, sdt, 0.528, 0.432, 0.024, 0.162, 3, 1, 0.054, 0)
A(neuron_mirror_n1_p6, sdt, 0.906, 0.432, 0.024, 0.162, 4, 1, 0.108, 0)
A(neuron_mirror_n1_p6, sdt, 1.608, 0.432, 0.024, 0.162, 3, 1, 0.054, 0)
A(neuron_mirror_n1_p6, sdt, 1.986, 0.432, 0.024, 0.162, 4, 1, 0.108, 0)
A(neuron_mirror_n1_p6, sdt, 2.364, 0.432, 0.024, 0.162, 5, 1, 0.054, 0)
A(neuron_mirror_n1_p6, sdt, 2.688, 0.432, 0.024, 0.162, 4, 1, 0.054, 0)
A(neuron_mirror_n1_p6, sdt, 3.174, 0.432, 0.024, 0.162, 6, 1, 0.054, 0)
A(neuron_mirror_n1_p6, sdt, 3.552, 0.432, 0.024, 0.162, 4, 1, 0.054, 0)
A(neuron_mirror_n1_p6, sdt, 4.362, 0.432, 0.024, 0.162, 3, 1, 0.054, 0)
R(neuron_mirror_n1_p6, sdt, [(0.042,0.162,0.066,0.216), (4.956,0.162,4.98,0.216), (2.31,0.189,2.334,0.216), (2.364,0.189,2.388,0.216), (2.688,0.189,2.712,0.216), (3.174,0.189,3.198,0.216), (3.228,0.189,3.252,0.216), (3.552,0.189,3.576,0.216), (4.038,0.189,4.062,0.216), (4.092,0.189,4.116,0.216), (4.2,0.189,4.224,0.216), (4.524,0.189,4.548,0.216), (4.578,0.189,4.602,0.216), (0.042,0.432,0.066,0.594), (0.366,0.432,0.39,0.594), (0.42,0.432,0.444,0.594), (0.744,0.432,0.768,0.594), (0.852,0.432,0.876,0.594), (1.284,0.432,1.308,0.594), (1.338,0.432,1.362,0.594), (1.446,0.432,1.47,0.594), (1.5,0.432,1.524,0.594), (1.824,0.432,1.848,0.594), (1.932,0.432,1.956,0.594), (3.012,0.432,3.036,0.594), (3.066,0.432,3.09,0.594), (3.876,0.432,3.9,0.594), (3.93,0.432,3.954,0.594), (4.038,0.432,4.062,0.594), (4.092,0.432,4.116,0.594), (4.2,0.432,4.224,0.594), (4.254,0.432,4.278,0.594), (4.578,0.432,4.602,0.594), (4.686,0.432,4.71,0.594), (4.848,0.432,4.872,0.594), (4.956,0.432,4.98,0.594)])
R(neuron_mirror_n1_p6, boundary, [(0,0,5.022,1.248)])
neuron_mirror_n1_p6.add(gdstk.Label('VSS', (0.054,0.081), layer=20, texttype=251))
neuron_mirror_n1_p6.add(gdstk.Label('VDD', (0.054,0.702), layer=20, texttype=251))
neuron_mirror_n1_p6.add(gdstk.Label('VSS', (0.054,0.189), layer=3, texttype=251))
neuron_mirror_n1_p6.add(gdstk.Label('VDD', (0.054,0.432), layer=1, texttype=251))
neuron_mirror_n1_p6.add(gdstk.Label('i0', (0.189,0.924), layer=40, texttype=251))
neuron_mirror_n1_p6.add(gdstk.Label('i4', (0.243,1.068), layer=40, texttype=251))
neuron_mirror_n1_p6.add(gdstk.Label('i1', (0.567,0.924), layer=40, texttype=251))
neuron_mirror_n1_p6.add(gdstk.Label('i5', (0.621,1.068), layer=40, texttype=251))
neuron_mirror_n1_p6.add(gdstk.Label('i2', (1.269,0.924), layer=40, texttype=251))
neuron_mirror_n1_p6.add(gdstk.Label('i6', (1.323,1.212), layer=40, texttype=251))
neuron_mirror_n1_p6.add(gdstk.Label('i3', (1.647,0.924), layer=40, texttype=251))
neuron_mirror_n1_p6.add(gdstk.Label('i7', (1.701,1.212), layer=40, texttype=251))
neuron_mirror_n1_p6.add(gdstk.Label('i8', (2.511,0.924), layer=40, texttype=251))
neuron_mirror_n1_p6.add(gdstk.Label('i9', (3.375,0.924), layer=40, texttype=251))
neuron_mirror_n1_p6.add(gdstk.Label('n18', (4.617,0.972), layer=40, texttype=251))
neuron_mirror_n1_p6.add(gdstk.Label('n19', (4.887,1.02), layer=40, texttype=251))

lib.write_gds('neuron_mirror_n1_p6.gds')
